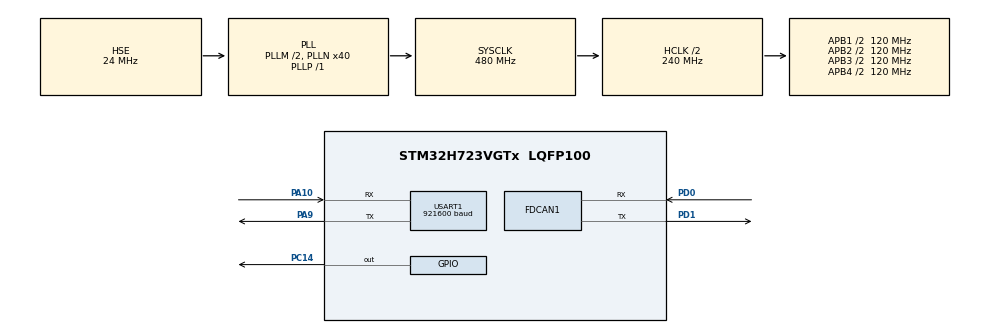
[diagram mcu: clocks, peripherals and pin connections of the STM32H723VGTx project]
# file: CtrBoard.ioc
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CORTEX_M7.CPU_DCache=Disabled
CORTEX_M7.CPU_ICache=Disabled
FDCAN1.AutoRetransmission=ENABLE
FDCAN1.CalculateBaudRateNominal=1000000
FDCAN1.CalculateTimeBitNominal=1000
FDCAN1.CalculateTimeQuantumNominal=12.5
FDCAN1.DataPrescaler=1
FDCAN1.DataSyncJumpWidth=2
FDCAN1.DataTimeSeg1=13
FDCAN1.DataTimeSeg2=2
FDCAN1.ExtFiltersNbr=4
FDCAN1.FrameFormat=FDCAN_FRAME_FD_BRS
FDCAN1.NominalPrescaler=1
FDCAN1.NominalSyncJumpWidth=20
FDCAN1.NominalTimeSeg1=59
FDCAN1.NominalTimeSeg2=20
FDCAN1.ProtocolException=ENABLE
FDCAN1.RxBufferSize=FDCAN_DATA_BYTES_8
FDCAN1.RxBuffersNbr=2
FDCAN1.RxFifo0ElmtSize=FDCAN_DATA_BYTES_8
FDCAN1.RxFifo0ElmtsNbr=10
FDCAN1.RxFifo1ElmtSize=FDCAN_DATA_BYTES_8
FDCAN1.RxFifo1ElmtsNbr=10
FDCAN1.StdFiltersNbr=4
FDCAN1.TxBuffersNbr=10
FDCAN1.TxElmtSize=FDCAN_DATA_BYTES_8
FDCAN1.TxEventsNbr=10
FDCAN1.TxFifoQueueElmtsNbr=10
Mcu.Family=STM32H7
Mcu.Name=STM32H723VGTx
Mcu.Package=LQFP100
NVIC.FDCAN1_IT0_IRQn=true\:0\:0\:false\:false\:true\:true\:true\:true
NVIC.FDCAN1_IT1_IRQn=true\:0\:0\:false\:false\:true\:true\:true\:true
NVIC.FDCAN_CAL_IRQn=true\:0\:0\:false\:false\:true\:true\:true\:true
NVIC.PriorityGroup=NVIC_PRIORITYGROUP_4
NVIC.TIM3_IRQn=true\:0\:0\:false\:false\:true\:true\:true\:true
NVIC.TIM4_IRQn=true\:0\:0\:false\:false\:true\:true\:true\:true
NVIC.USART1_IRQn=true\:0\:0\:false\:false\:true\:true\:true\:true
PA10.Mode=Asynchronous
PA10.Signal=USART1_RX
PA13(JTMS/SWDIO).Mode=Serial_Wire
PA13(JTMS/SWDIO).Signal=DEBUG_JTMS-SWDIO
PA14(JTCK/SWCLK).Mode=Serial_Wire
PA14(JTCK/SWCLK).Signal=DEBUG_JTCK-SWCLK
PA9.Mode=Asynchronous
PA9.Signal=USART1_TX
PC14-OSC32_IN.Signal=GPIO_Output
PD0.Mode=FDCAN_Activate
PD0.Signal=FDCAN1_RX
PD1.Mode=FDCAN_Activate
PD1.Signal=FDCAN1_TX
PH0-OSC_IN.Mode=HSE-External-Oscillator
PH0-OSC_IN.Signal=RCC_OSC_IN
PH1-OSC_OUT.Mode=HSE-External-Oscillator
PH1-OSC_OUT.Signal=RCC_OSC_OUT
ProjectManager.HeapSize=0x2000
ProjectManager.StackSize=0x400
ProjectManager.TargetToolchain=MDK-ARM V5.32
RCC.ADCFreq_Value=48375000
RCC.APB1Freq_Value=120000000
RCC.APB2Freq_Value=120000000
RCC.APB3Freq_Value=120000000
RCC.APB4Freq_Value=120000000
RCC.CortexFreq_Value=480000000
RCC.D1PPRE=RCC_APB3_DIV2
RCC.D2PPRE1=RCC_APB1_DIV2
RCC.D2PPRE2=RCC_APB2_DIV2
RCC.D3PPRE=RCC_APB4_DIV2
RCC.DIVM1=2
RCC.DIVN1=40
RCC.DIVP1=1
RCC.DIVQ1=6
RCC.HCLKFreq_Value=240000000
RCC.HPRE=RCC_HCLK_DIV2
RCC.HSE_VALUE=24000000
RCC.PLLFRACN=0
RCC.PLLSourceVirtual=RCC_PLLSOURCE_HSE
RCC.RCC_MCO1Source=RCC_MCO1SOURCE_HSE
RCC.SYSCLKFreq_VALUE=480000000
RCC.SYSCLKSource=RCC_SYSCLKSOURCE_PLLCLK
RCC.USBCLockSelection=RCC_USBCLKSOURCE_HSI48
RCC.USBFreq_Value=48000000
TIM3.Period=1000-1
TIM3.Prescaler=240-1
TIM4.Period=1000-1
TIM4.Prescaler=240-1
USART1.BaudRate=921600
USART1.VirtualMode-Asynchronous=VM_ASYNC
VP_TIM3_VS_ClockSourceINT.Mode=Internal
VP_TIM4_VS_ClockSourceINT.Mode=Internal
board=custom

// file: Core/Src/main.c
/* USER CODE BEGIN Header */
/**
 ******************************************************************************
 * @file           : main.c
 * @brief          : Main program body
 ******************************************************************************
 * @attention
 *
 * Copyright (c) 2024 STMicroelectronics.
 * All rights reserved.
 *
 * This software is licensed under terms that can be found in the LICENSE file
 * in the root directory of this software component.
 * If no LICENSE file comes with this software, it is provided AS-IS.
 *
 ******************************************************************************
 */
/* USER CODE END Header */
#include "main.h"
#include "fdcan.h"
#include "tim.h"
#include "usart.h"
#include "gpio.h"

/* USER CODE BEGIN Includes */
#include "bsp_fdcan.h"
#include "dm_motor_ctrl.h"
#include "stdio.h"
#include "3RRS.h"
/* USER CODE END Includes */

void SystemClock_Config(void);

/* USER CODE BEGIN 0 */
void HAL_TIM_PeriodElapsedCallback(TIM_HandleTypeDef *htim)
{
  /* USER CODE BEGIN Callback 0 */
  if (htim->Instance == TIM3)
  {

    read_all_motor_data(&motor[Motor1]);

    if (motor[Motor1].tmp.read_flag == 0)
      dm_motor_ctrl_send(&hfdcan1, &motor[Motor1]);
  }
}
/* USER CODE END 0 */

int main(void)
{

  /* MCU Configuration--------------------------------------------------------*/

  /* Reset of all peripherals, Initializes the Flash interface and the Systick. */
  HAL_Init();

  /* Configure the system clock */
  SystemClock_Config();

  /* Initialize all configured peripherals */
  MX_GPIO_Init();
  MX_FDCAN1_Init();
  MX_TIM3_Init();
  MX_USART1_UART_Init();
  MX_TIM4_Init();
  /* USER CODE BEGIN 2 */
  power(1);
  HAL_Delay(1000);

  bsp_fdcan_set_baud(&hfdcan1, CAN_CLASS, CAN_BR_1M); // 1M波特率

  bsp_can_init();
  dm_motor_init();
  // motor[Motor1].ctrl.mode 	= pos_mode;

  HAL_Delay(100);
  enable_motor_mode(&hfdcan1, 0x03, POS_MODE);
  enable_motor_mode(&hfdcan1, 0x04, POS_MODE);
  enable_motor_mode(&hfdcan1, 0x05, POS_MODE);
//	save_pos_zero(&hfdcan1,motor[Motor1].id,POS_MODE);
//	save_pos_zero(&hfdcan1,motor[Motor2].id,POS_MODE);
//	save_pos_zero(&hfdcan1,motor[Motor3].id,POS_MODE);

  HAL_Delay(1000);
//		 pos_ctrl(&hfdcan1, motor[0].id, 0.1,1);
//     pos_ctrl(&hfdcan1, motor[1].id, 0.1,1);
//     pos_ctrl(&hfdcan1, motor[2].id, 0.1,1);

  HAL_TIM_Base_Start_IT(&htim3);
  //	read_all_motor_data(&motor[Motor1]);

  /* USER CODE END 2 */

  /* Infinite loop */
  /* USER CODE BEGIN WHILE */
	double theta_out[3];
	ik_3rrs_no_yaw(0.12,0,0,NULL,theta_out);
	pos_ctrl(&hfdcan1, motor[0].id, -theta_out[0],3);
  pos_ctrl(&hfdcan1, motor[1].id, -theta_out[1],3);
  pos_ctrl(&hfdcan1, motor[2].id, -theta_out[2],3);
	HAL_Delay(1000);

  while (1)
  {
		for (int i=0;i<300;i++)
		{
			unsigned char x=0;
			//x=ik_3rrs_no_yaw(0.09+((double)(i))/10000,0,0,NULL,theta_out);
			//x=ik_3rrs_no_yaw(0.12,(30-((double)i/(5)))/180,0.03,NULL,theta_out);
			x=ik_3rrs_no_yaw(0.12,0,(30-((double)i/(5)))/180,NULL,theta_out);
			pos_ctrl(&hfdcan1, motor[0].id, -theta_out[0],3);
      pos_ctrl(&hfdcan1, motor[1].id, -theta_out[1],3);
      pos_ctrl(&hfdcan1, motor[2].id, -theta_out[2],3);

			printf("%2f,%2f,%2f,%d,%d,%f,%f,%f\r\n",theta_out[0],theta_out[1],theta_out[2],i,x,motor[0].para.pos, motor[Motor2].para.pos, motor[Motor3].para.pos);

			HAL_Delay(2);
		}
		for (int i=300;i>0;i--)
		{
			unsigned char x=0;
			//x=ik_3rrs_no_yaw(0.09+((double)(i))/10000,0,0,NULL,theta_out);
			//x=ik_3rrs_no_yaw(0.12,(30-((double)i/(5)))/180,0.03,NULL,theta_out);
			x=ik_3rrs_no_yaw(0.12,0,(30-((double)i/(5)))/180,NULL,theta_out);
			pos_ctrl(&hfdcan1, motor[0].id, -theta_out[0],3);
      pos_ctrl(&hfdcan1, motor[1].id, -theta_out[1],3);
      pos_ctrl(&hfdcan1, motor[2].id, -theta_out[2],3);

			printf("%2f,%2f,%2f,%d,%d,%f,%f,%f\r\n",theta_out[0],theta_out[1],theta_out[2],i,x,motor[0].para.pos, motor[Motor2].para.pos, motor[Motor3].para.pos);
			HAL_Delay(2);
		}

    /* USER CODE END WHILE */

  }
}

void SystemClock_Config(void)
{
  RCC_OscInitTypeDef RCC_OscInitStruct = {0};
  RCC_ClkInitTypeDef RCC_ClkInitStruct = {0};

  /** Supply configuration update enable
   */
  HAL_PWREx_ConfigSupply(PWR_LDO_SUPPLY);

  /** Configure the main internal regulator output voltage
   */
  __HAL_PWR_VOLTAGESCALING_CONFIG(PWR_REGULATOR_VOLTAGE_SCALE0);

  while (!__HAL_PWR_GET_FLAG(PWR_FLAG_VOSRDY))
  {
  }

  /** Initializes the RCC Oscillators according to the specified parameters
   * in the RCC_OscInitTypeDef structure.
   */
  RCC_OscInitStruct.OscillatorType = RCC_OSCILLATORTYPE_HSE;
  RCC_OscInitStruct.HSEState = RCC_HSE_ON;
  RCC_OscInitStruct.PLL.PLLState = RCC_PLL_ON;
  RCC_OscInitStruct.PLL.PLLSource = RCC_PLLSOURCE_HSE;
  RCC_OscInitStruct.PLL.PLLM = 2;
  RCC_OscInitStruct.PLL.PLLN = 40;
  RCC_OscInitStruct.PLL.PLLP = 1;
  RCC_OscInitStruct.PLL.PLLQ = 6;
  RCC_OscInitStruct.PLL.PLLR = 2;
  RCC_OscInitStruct.PLL.PLLRGE = RCC_PLL1VCIRANGE_3;
  RCC_OscInitStruct.PLL.PLLVCOSEL = RCC_PLL1VCOWIDE;
  RCC_OscInitStruct.PLL.PLLFRACN = 0;
  if (HAL_RCC_OscConfig(&RCC_OscInitStruct) != HAL_OK)
  {
    Error_Handler();
  }

  /** Initializes the CPU, AHB and APB buses clocks
   */
  RCC_ClkInitStruct.ClockType = RCC_CLOCKTYPE_HCLK | RCC_CLOCKTYPE_SYSCLK | RCC_CLOCKTYPE_PCLK1 | RCC_CLOCKTYPE_PCLK2 | RCC_CLOCKTYPE_D3PCLK1 | RCC_CLOCKTYPE_D1PCLK1;
  RCC_ClkInitStruct.SYSCLKSource = RCC_SYSCLKSOURCE_PLLCLK;
  RCC_ClkInitStruct.SYSCLKDivider = RCC_SYSCLK_DIV1;
  RCC_ClkInitStruct.AHBCLKDivider = RCC_HCLK_DIV2;
  RCC_ClkInitStruct.APB3CLKDivider = RCC_APB3_DIV2;
  RCC_ClkInitStruct.APB1CLKDivider = RCC_APB1_DIV2;
  RCC_ClkInitStruct.APB2CLKDivider = RCC_APB2_DIV2;
  RCC_ClkInitStruct.APB4CLKDivider = RCC_APB4_DIV2;

  if (HAL_RCC_ClockConfig(&RCC_ClkInitStruct, FLASH_LATENCY_3) != HAL_OK)
  {
    Error_Handler();
  }
}

void Error_Handler(void)
{
  __disable_irq();
  while (1)
  {
  }
}
